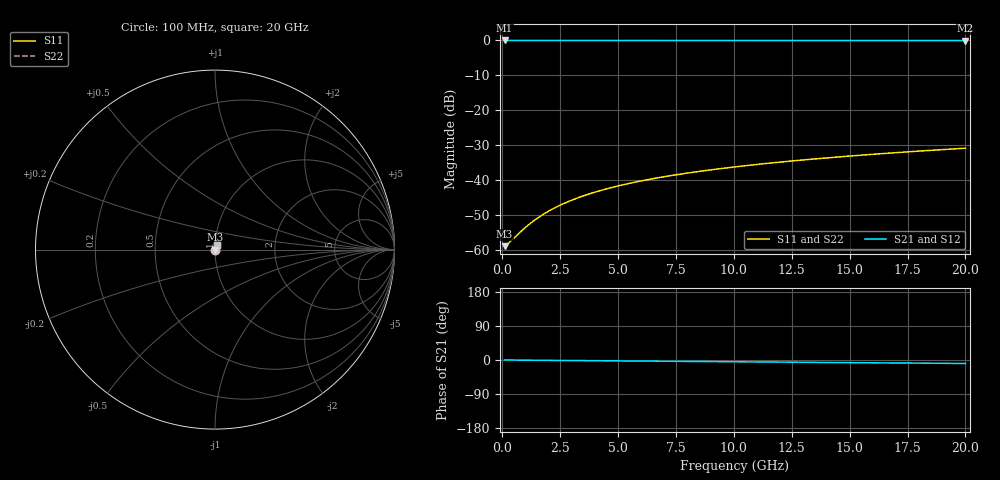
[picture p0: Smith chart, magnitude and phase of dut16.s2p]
! Touchstone file exported from HFSS 2026.1.0
!  File:  C:/ffzhzh/LocalFiles/Ansys_Project_Files/temp_train_TSV_16_1782958059_45308.aedt
!  Generated:  10:09:43 AM Jul  2, 2026
!  Design:  TSV
!  Project:  temp_train_TSV_16_1782958059_45308
! Variables:
!  h_bsmrdl = 2um
!  h_ox = 20um
!  h_rdl = 5um
!  h_sub = 99.46um
!  h_tmrdl = 5um
!  h_tsv = 99.46um
!  h_via = 3um
!  l_bsmrdl = 300um
!  l_sub = 406.4um
!  l_tmrdl = 200um
!  m_sub = 200um
!  pitch = 16.9um
!  r_tsv = 3.2um
!  s_tmrdl = 10um
!  w_bsmrdl = 18um
!  w_sub = 500um
!  w_tmrdl = 12um
!  x_tsv_center1 = 206um
!  x_tsv_center2 = 524um
!  x_tsv_center3 = 736um
!  x_tsv_center4 = 1054um
!  x_tsv_center5 = 1266um
!  x_tsv_center6 = 1584um
# GHz S MA R 50.000000
! Terminal data exported
! Port[1] = TSV1_1_T1
! Port[2] = TSV1_1_T2
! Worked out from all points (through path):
!   200 points, 100 MHz to 20 GHz, reference 50 ohm
!   highest |S21| = -0.01 dB at 100 MHz (marker M1); lowest = 0.0 dB at 20 GHz (marker M2)
!   group delay of S21, straight-line fit = 1.27 ps
!   lowest |S11| = -58.8 dB at 100 MHz (marker M3), VSWR 1.00, Z = 50.1 + j0.0193 ohm
!   |S11| at or under -10 dB: start of sweep to end of sweep
!   |S22| runs from -58.8 to -30.8 dB; largest |S21 - S12| = 3.1e-15
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0.1  0.001147 9.7  0.9989 -0.0  0.9989 -0.0  0.001147 9.7
! Gamma 0 0 0 0
! Port Impedance 50 0 50 0
0.2  0.001208 18.3  0.9989 -0.1  0.9989 -0.1  0.001208 18.3
0.3  0.001292 25.5  0.9988 -0.1  0.9988 -0.1  0.001292 25.5
0.8  0.001859 48.1  0.9988 -0.4  0.9988 -0.4  0.001859 48.1
1.1  0.002269 55.8  0.9987 -0.5  0.9987 -0.5  0.002269 55.8
1.4  0.002709 60.9  0.9987 -0.7  0.9987 -0.7  0.002709 60.9
1.7  0.003165 64.5  0.9987 -0.8  0.9987 -0.8  0.003165 64.5
2.1  0.003789 67.8  0.9986 -1.0  0.9986 -1.0  0.003789 67.8
2.5  0.004421 70.0  0.9986 -1.2  0.9986 -1.2  0.004421 70.0
3  0.005213 71.8  0.9985 -1.4  0.9985 -1.4  0.005213 71.8
3.5  0.006002 73.0  0.9984 -1.7  0.9984 -1.7  0.006002 73.0
4.2  0.007096 74.0  0.9983 -2.0  0.9983 -2.0  0.007096 74.0
5  0.008325 74.6  0.9981 -2.4  0.9981 -2.4  0.008325 74.6
5.9  0.009679 74.9  0.9979 -2.8  0.9979 -2.8  0.009679 74.9
6.8  0.011 75.0  0.9977 -3.2  0.9977 -3.2  0.011 75.0
8.3  0.01315 75.0  0.9974 -3.9  0.9974 -3.9  0.01315 75.0
10.1  0.01566 74.8  0.997 -4.7  0.997 -4.7  0.01566 74.8
11.7  0.01784 74.5  0.9967 -5.4  0.9967 -5.4  0.01784 74.5
13.4  0.02013 74.2  0.9964 -6.2  0.9964 -6.2  0.02013 74.2
15  0.02226 73.9  0.9962 -6.9  0.9962 -6.9  0.02226 73.9
16.7  0.0245 73.5  0.9959 -7.7  0.9959 -7.7  0.0245 73.5
20  0.02882 72.6  0.9955 -9.2  0.9955 -9.2  0.02882 72.6
